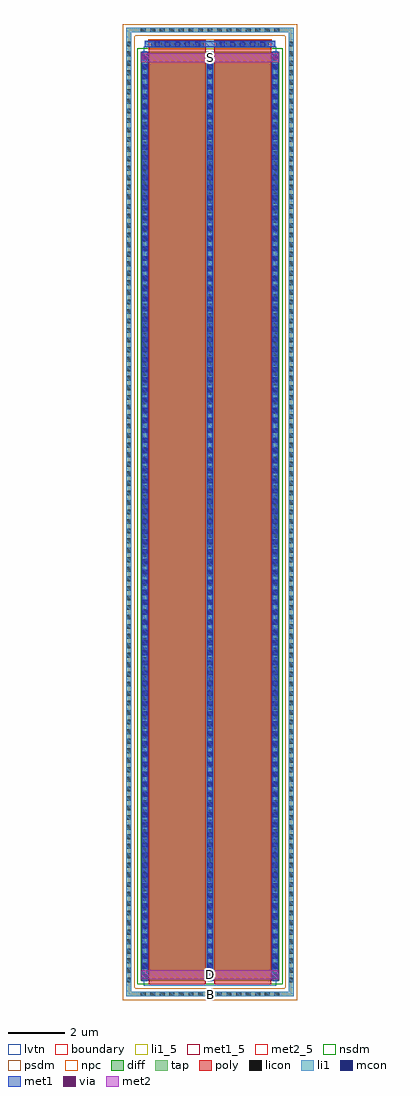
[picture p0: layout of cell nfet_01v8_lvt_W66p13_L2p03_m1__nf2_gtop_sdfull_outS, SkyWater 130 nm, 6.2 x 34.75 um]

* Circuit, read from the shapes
.subckt nfet_01v8_lvt_W66p13_L2p03_m1__nf2_gtop_sdfull_outS B D G S
XM1 D G S B sky130_fd_pr__nfet_01v8_lvt w=33.07 l=2.03 m=2
.ends

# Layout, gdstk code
import gdstk
lib = gdstk.Library(unit=1e-6, precision=1e-09)
def R(c, l, rs):  # rectangles x0, y0, x1, y1
    for r in rs: c.add(gdstk.rectangle(r[:2], r[2:], *l))
def A(c, l, x, y, w, h, nx, ny, dx, dy):  # array of equal rectangles
    R(c, l, [(x+i*dx, y+j*dy, x+i*dx+w, y+j*dy+h) for i in range(nx) for j in range(ny)])
diff = (65, 20)
tap = (65, 44)
poly = (66, 20)
licon = (66, 44)
li1_5 = (67, 5)
li1 = (67, 20)
mcon = (67, 44)
met1_5 = (68, 5)
met1 = (68, 20)
via = (68, 44)
met2_5 = (69, 5)
met2 = (69, 20)
nsdm = (93, 44)
psdm = (94, 20)
npc = (95, 20)
lvtn = (125, 44)
boundary = (235, 4)

sky130_fd_pr__nfet_01v8_ = lib.new_cell('sky130_fd_pr__nfet_01v8_lvt_5LYAM9')
R(sky130_fd_pr__nfet_01v8_, diff, [(-2.465,-16.69,2.465,16.38)])
R(sky130_fd_pr__nfet_01v8_, tap, [(-2.975,-17.25,2.975,-17.08), (-2.975,-17.08,-2.805,17.08), (2.805,-17.08,2.975,17.08), (-2.975,17.08,2.975,17.25)])
R(sky130_fd_pr__nfet_01v8_, poly, [(-2.175,-16.82,-0.145,16.82), (0.145,-16.82,2.175,16.82)])
A(sky130_fd_pr__nfet_01v8_, licon, -2.465, -17.25, 0.17, 0.17, 15, 2, 0.34, 34.33)
A(sky130_fd_pr__nfet_01v8_, licon, -2.975, -16.745, 0.17, 0.17, 1, 99, 0, 0.34)
A(sky130_fd_pr__nfet_01v8_, licon, 2.805, -16.745, 0.17, 0.17, 1, 99, 0, 0.34)
A(sky130_fd_pr__nfet_01v8_, licon, -2.405, -16.56, 0.17, 0.17, 3, 97, 2.32, 0.34)
A(sky130_fd_pr__nfet_01v8_, licon, -2.095, 16.57, 0.17, 0.17, 6, 1, 0.34, 0)
A(sky130_fd_pr__nfet_01v8_, licon, 0.225, 16.57, 0.17, 0.17, 6, 1, 0.34, 0)
A(sky130_fd_pr__nfet_01v8_, li1, -2.405, -16.71, 0.17, 33.11, 3, 1, 2.32, 0)
R(sky130_fd_pr__nfet_01v8_, li1, [(-2.975,-17.25,2.975,-17.08), (-2.975,-17.08,-2.805,17.08), (2.805,-17.08,2.975,17.08), (-2.32,16.57,2.32,16.74), (-2.975,17.08,2.975,17.25)])
A(sky130_fd_pr__nfet_01v8_, mcon, -2.405, -16.62, 0.17, 0.17, 3, 92, 2.32, 0.36)
A(sky130_fd_pr__nfet_01v8_, mcon, -1.965, 16.57, 0.17, 0.17, 5, 1, 0.36, 0)
A(sky130_fd_pr__nfet_01v8_, mcon, 0.355, 16.57, 0.17, 0.17, 5, 1, 0.36, 0)
A(sky130_fd_pr__nfet_01v8_, met1, -2.435, -16.69, 0.23, 33.07, 3, 1, 2.32, 0)
R(sky130_fd_pr__nfet_01v8_, met1, [(-2.155,16.54,-0.165,16.57), (0.165,16.54,2.155,16.57), (-2.32,16.57,2.32,16.74), (-2.155,16.74,-0.165,16.77), (0.165,16.74,2.155,16.77)])
R(sky130_fd_pr__nfet_01v8_, nsdm, [(-2.59,-16.815,2.59,16.505)])
R(sky130_fd_pr__nfet_01v8_, psdm, [(-3.1,-17.375,3.1,-16.955), (-3.1,-16.955,-2.68,16.955), (2.68,-16.955,3.1,16.955), (-3.1,16.955,3.1,17.375)])
R(sky130_fd_pr__nfet_01v8_, npc, [(-2.195,16.47,2.195,16.84)])
R(sky130_fd_pr__nfet_01v8_, lvtn, [(-2.355,-16.87,2.355,16.56)])
R(sky130_fd_pr__nfet_01v8_, boundary, [(-2.89,-17.165,2.89,17.165)])
sky130_fd_pr__nfet_01v8_.add(gdstk.Label('B', (0,-17.165), layer=67, texttype=5))
sky130_fd_pr__nfet_01v8_.add(gdstk.Label('D0', (-2.32,-0.155), layer=67, texttype=5))
sky130_fd_pr__nfet_01v8_.add(gdstk.Label('G', (1.16,16.655), layer=67, texttype=5))
sky130_fd_pr__nfet_01v8_.add(gdstk.Label('G', (-1.16,16.655), layer=67, texttype=5))
sky130_fd_pr__nfet_01v8_.add(gdstk.Label('S1', (0,-0.155), layer=67, texttype=5))

nfet_01v8_lvt_w66p13_l2p = lib.new_cell('nfet_01v8_lvt_W66p13_L2p03_m1__nf2_gtop_sdfull_outS')
R(nfet_01v8_lvt_w66p13_l2p, li1_5, [(2.805,-0.085,2.975,0.085)])
R(nfet_01v8_lvt_w66p13_l2p, li1, [(2.805,-0.085,2.975,0.085)])
R(nfet_01v8_lvt_w66p13_l2p, met1_5, [(0.57,33.705,5.21,33.935)])
R(nfet_01v8_lvt_w66p13_l2p, met1, [(2.76,0.525,3.02,0.845), (0.44,33.175,0.7,33.495), (5.08,33.175,5.34,33.495), (0.57,33.705,5.21,33.935)])
R(nfet_01v8_lvt_w66p13_l2p, via, [(2.815,0.61,2.965,0.76), (0.495,33.26,0.645,33.41), (5.135,33.26,5.285,33.41)])
R(nfet_01v8_lvt_w66p13_l2p, met2_5, [(0.435,0.525,5.345,0.845), (0.435,33.175,5.345,33.495)])
R(nfet_01v8_lvt_w66p13_l2p, met2, [(0.435,0.525,5.345,0.845), (0.435,33.175,5.345,33.495)])
nfet_01v8_lvt_w66p13_l2p.add(gdstk.Reference(sky130_fd_pr__nfet_01v8_, (2.89,17.165)))
nfet_01v8_lvt_w66p13_l2p.add(gdstk.Label('S', (2.89,33.335), layer=69, texttype=5))
nfet_01v8_lvt_w66p13_l2p.add(gdstk.Label('D', (2.89,0.685), layer=69, texttype=5))
nfet_01v8_lvt_w66p13_l2p.add(gdstk.Label('G', (2.89,33.82), layer=68, texttype=5))
nfet_01v8_lvt_w66p13_l2p.add(gdstk.Label('B', (2.89,0), layer=67, texttype=5))

lib.write_gds('nfet_01v8_lvt_W66p13_L2p03_m1__nf2_gtop_sdfull_outS.gds')
